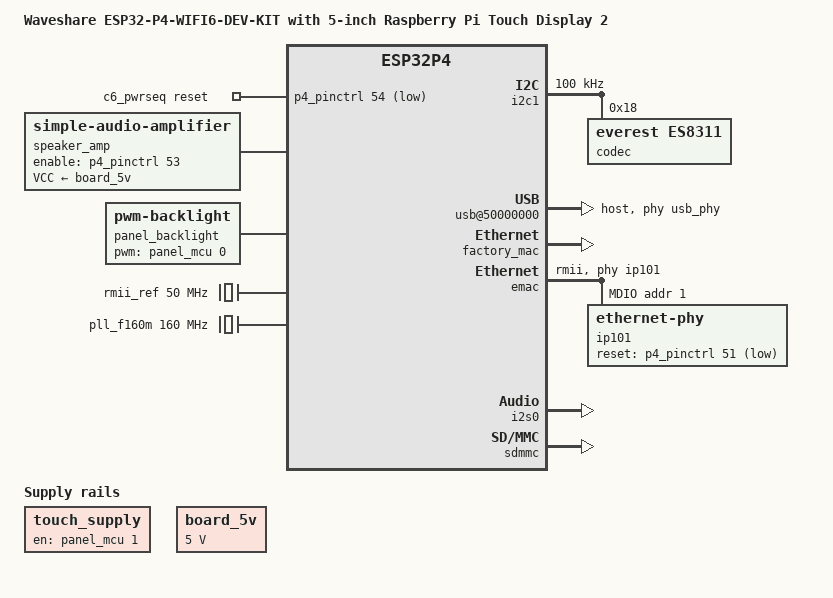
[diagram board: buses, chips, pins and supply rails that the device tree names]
// SPDX-License-Identifier: (GPL-2.0-only OR BSD-2-Clause)
#include <dt-bindings/gpio/gpio.h>
#include "esp32p4-hardware.dts"
#include "esp32p4-waveshare-peripheral-pins.dtsi"

/ {
	model = "Waveshare ESP32-P4-WIFI6-DEV-KIT with 5-inch Raspberry Pi Touch Display 2";
	compatible = "waveshare,esp32p4-wifi6-dev-kit-touch-display-2",
		     "waveshare,esp32p4-wifi6-dev-kit",
		     "espressif,esp32p4-generic", "espressif,esp32p4";

	aliases {
		i2c1 = &i2c1;
		mmc0 = &sd_slot;
		mmc1 = &c6_slot;
		ethernet0 = &emac;
		watchdog0 = &mwdt0;
		watchdog1 = &mwdt1;
	};

	/* The panel MCU exposes LCD reset on GPIO0 and CTP reset on GPIO1. */
	touch_supply: regulator-touch {
		compatible = "regulator-fixed";
		regulator-name = "touch-display-2";
		gpio = <&panel_mcu 1 GPIO_ACTIVE_HIGH>;
		enable-active-high;
		startup-delay-us = <50000>;
	};

	c6_pwrseq: mmc-pwrseq {
		compatible = "mmc-pwrseq-simple";
		reset-gpios = <&p4_pinctrl 54 GPIO_ACTIVE_LOW>;
		/* ESP-Hosted firmware starts after the SDIO bus is pulled up. */
		post-power-on-delay-ms = <200>;
		power-off-delay-us = <10000>;
	};

	board_5v: regulator-board-5v {
		compatible = "regulator-fixed";
		regulator-name = "VCC_5V";
		regulator-min-microvolt = <5000000>;
		regulator-max-microvolt = <5000000>;
		regulator-always-on;
	};

	speaker_amp: audio-amplifier {
		compatible = "simple-audio-amplifier";
		enable-gpios = <&p4_pinctrl 53 GPIO_ACTIVE_HIGH>;
		VCC-supply = <&board_5v>;
		sound-name-prefix = "PA";
	};

	sound {
		compatible = "simple-audio-card";
		simple-audio-card,name = "Waveshare ES8311";
		simple-audio-card,format = "i2s";
		simple-audio-card,bitclock-master = <&codec_dai>;
		simple-audio-card,frame-master = <&codec_dai>;
		simple-audio-card,mclk-fs = <256>;
		simple-audio-card,aux-devs = <&speaker_amp>;
		simple-audio-card,widgets = "Speaker", "Speaker", "Microphone", "Mic";
		simple-audio-card,routing = "Speaker", "PA OUTL", "PA INL", "OUT",
					   "MIC1", "Mic";

		simple-audio-card,cpu {
			sound-dai = <&i2s0>;
			system-clock-direction-out;
		};

		codec_dai: simple-audio-card,codec {
			sound-dai = <&codec>;
		};
	};

	panel_backlight: backlight {
		compatible = "pwm-backlight";
		pwms = <&panel_mcu 0 200000 0>;
		brightness-levels = <0 31>;
		num-interpolated-steps = <31>;
		default-brightness-level = <16>;
	};
};

/* TRM ch.48 I2C Controller - I2C1 APB gate, XTAL source and master mode.
 * The panel MCU and touchscreen are on GPIO7 (SDA) and GPIO8 (SCL).
 */
&i2c1 {
	compatible = "espressif,esp32p4-rev1-i2c";
	reg = <0x500c5000 0x100>;
	clocks = <&periphclk ESP32P4_CLK_I2C1>;
	resets = <&periphclk ESP32P4_RST_I2C1>;
	pinctrl-0 = <&pins_i2c1>;
	pinctrl-names = "default";
	clock-frequency = <100000>;

	codec: codec@18 {
		compatible = "everest,es8311";
		reg = <0x18>;
		clocks = <&periphclk ESP32P4_CLK_I2S0>;
		clock-names = "mclk";
		#sound-dai-cells = <0>;
	};
};

&{/chosen/framebuffer@49000000} {
	reset-gpios = <&panel_mcu 0 GPIO_ACTIVE_LOW>;
	backlight = <&panel_backlight>;
};

panel_mcu: &{/soc/i2c@500c5000/backlight@45} {
	compatible = "raspberrypi,touchscreen-panel-regulator-v2";
	gpio-controller;
	#gpio-cells = <2>;
	#pwm-cells = <3>;
};

&{/soc/i2c@500c5000/touchscreen@5d} {
	AVDD28-supply = <&touch_supply>;
};

/*
 * After the handoff SPL and U-Boot's temporary BSS are dead. U-Boot
 * retains the cache routines and display LLI below 0x4ff2b000 and the AP
 * mailbox at 0x4ff3c000. TRM ch.9 System and Memory - SRAM CPU/DMA aliases.
 */
&{/reserved-memory} {
	p4_dma: dma-pool@8ff2b000 {
		compatible = "shared-dma-pool";
		reg = <0x8ff2b000 0x11000>;
		no-map;
		linux,dma-default;
	};
};

&{/soc} {
	dma-noncoherent;
	dma-ranges = <0x48000000 0x48000000 0x04000000>,
		     <0x4ff2b000 0x8ff2b000 0x11000>;
};

/ {
	rmii_ref: clock-50m {
		compatible = "fixed-clock";
		#clock-cells = <0>;
		clock-frequency = <50000000>;
	};

	pll_f160m: clock-160m {
		compatible = "fixed-clock";
		#clock-cells = <0>;
		clock-frequency = <160000000>;
	};
};

&p4_pinctrl {
	gpio-controller;
	#gpio-cells = <2>;
	gpio-ranges = <&p4_pinctrl 0 0 57>;
	gpio-reserved-ranges = <0 51>, <52 1>, <55 2>;
};

/* This board configuration has no OV5647 sensor fitted. */
&{/soc/i2c@500c5000/camera@36} {
	status = "disabled";
};

&periphclk {
	reg = <0x500e6000 0x100>, <0x5011104c 0x4>,
	      <0x50111040 0x4>, <0x500e514c 0x4>;
	clocks = <&xtal>, <&pll_f160m>, <&rmii_ref>;
};

&{/soc} {
	/* TRM ch.16 Low-Power Management - VO4 bypass supplies SD1_VDD. */
	sd_vdd: regulator@501151d8 {
		compatible = "espressif,esp32p4-vo4-bypass";
		reg = <0x501151d8 0x4>;
		regulator-name = "SD1_VDD";
		regulator-min-microvolt = <3300000>;
		regulator-max-microvolt = <3300000>;
	};

	/* TRM ch.54 USB 2.0 High-Speed OTG - UTMI PHY and host controller. */
	usb_phy: phy@5009c000 {
		compatible = "espressif,esp32p4-rev1-usb-phy";
		reg = <0x5009c000 0x20>, <0x50111048 0x4>, <0x500e515c 0x4>;
		reg-names = "utmi", "otg-ctrl", "phy-ctrl";
		clocks = <&periphclk ESP32P4_CLK_USBHS>;
		#phy-cells = <0>;
	};

	usb@50000000 {
		compatible = "espressif,esp32p4-dwc2";
		reg = <0x50000000 0x1000>;
		interrupt-parent = <&{/soc/interrupt-controller@20800000}>;
		interrupts = <93 4>;
		phys = <&usb_phy>;
		phy-names = "usb2-phy";
		dr_mode = "host";
	};

	/* TRM ch.10 eFuse Controller - RD_MAC_SYS0 through RD_MAC_SYS1. */
	efuse@5012d044 {
		compatible = "espressif,esp32p4-efuse";
		reg = <0x5012d044 0x8>;
		read-only;

		nvmem-layout {
			compatible = "fixed-layout";
			#address-cells = <1>;
			#size-cells = <1>;

			factory_mac: mac-address@0 {
				compatible = "mac-base";
				#nvmem-cell-cells = <1>;
				reg = <0 6>;
			};
		};
	};

	/* TRM ch.57 EMAC - 10/100 RMII PHY with external 50 MHz clock. */
	emac: ethernet@50098000 {
		compatible = "espressif,esp32p4-dwmac";
		reg = <0x50098000 0x2000>;
		interrupt-parent = <&{/soc/interrupt-controller@20800000}>;
		interrupts = <92 4>, <91 4>, <90 4>;
		interrupt-names = "macirq", "eth_wake_irq", "eth_lpi";
		clocks = <&periphclk ESP32P4_CLK_EMAC>,
			 <&periphclk ESP32P4_CLK_EMAC_RMII>,
			 <&periphclk ESP32P4_CLK_EMAC_PTP>;
		clock-names = "stmmaceth", "rmii", "ptp_ref";
		pinctrl-0 = <&pins_emac_rmii &pins_emac_mdio>;
		pinctrl-names = "default";
		phy-mode = "rmii";
		phy-handle = <&ip101>;
		/* P4 has no native Wi-Fi or Bluetooth MAC address allocation. */
		nvmem-cells = <&factory_mac 0>;
		nvmem-cell-names = "mac-address";
		max-speed = <100>;
		snps,clk-csr = <4>;
		/* TRM ch.57 EMAC - the AHB master aligns subsequent bursts. */
		snps,aal;
		snps,pbl = <32>;
		snps,no-pbl-x8;

		mdio {
			compatible = "snps,dwmac-mdio";
			#address-cells = <1>;
			#size-cells = <0>;

			ip101: ethernet-phy@1 {
				reg = <1>;
				reset-gpios = <&p4_pinctrl 51 GPIO_ACTIVE_LOW>;
				reset-assert-us = <10000>;
				reset-deassert-us = <30000>;
			};
		};
	};

	/* TRM ch.6 GDMA Controller - three coupled AHB RX/TX channel pairs. */
	ahb_dma: dma-controller@50085000 {
		compatible = "espressif,esp32p4-ahb-gdma";
		reg = <0x50085000 0x1000>;
		interrupt-parent = <&{/soc/interrupt-controller@20800000}>;
		interrupts = <56 4>, <57 4>, <58 4>, <59 4>, <60 4>, <61 4>;
		clocks = <&periphclk ESP32P4_CLK_AHB_GDMA>;
		resets = <&periphclk ESP32P4_RST_AHB_GDMA>;
		#dma-cells = <2>;
	};

	/* TRM ch.18 Timer Group - TIMG_WDTCONFIG0 through TIMG_WDTWPROTECT. */
	mwdt0: watchdog@500c2048 {
		compatible = "espressif,esp32p4-timg-wdt";
		reg = <0x500c2048 0x20>;
		clocks = <&periphclk ESP32P4_CLK_MWDT0>;
		timeout-sec = <30>;
	};

	mwdt1: watchdog@500c3048 {
		compatible = "espressif,esp32p4-timg-wdt";
		reg = <0x500c3048 0x20>;
		clocks = <&periphclk ESP32P4_CLK_MWDT1>;
		timeout-sec = <30>;
	};

	/* TRM ch.53 PCNT - four units, GPIO2 feeds unit 0 channel 0. */
	pcnt: counter@500c9000 {
		compatible = "espressif,esp32p4-pcnt";
		reg = <0x500c9000 0x100>;
		interrupt-parent = <&{/soc/interrupt-controller@20800000}>;
		interrupts = <111 4>;
		clocks = <&periphclk ESP32P4_CLK_PCNT>;
		resets = <&periphclk ESP32P4_RST_PCNT>;
		pinctrl-0 = <&pins_pcnt0>;
		pinctrl-names = "default";
	};

	/* TRM ch.51 I2S Controller and ch.6 GDMA - I2S0 request 3. */
	i2s0: i2s@500c6000 {
		compatible = "espressif,esp32p4-i2s";
		reg = <0x500c6000 0x1000>;
		clocks = <&periphclk ESP32P4_CLK_I2S0>;
		resets = <&periphclk ESP32P4_RST_I2S0>;
		dmas = <&ahb_dma 1 3>, <&ahb_dma 0 3>;
		dma-names = "tx", "rx";
		pinctrl-0 = <&pins_i2s0>;
		pinctrl-names = "default";
		#sound-dai-cells = <0>;
		espressif,external-card;
	};

	/* TRM ch.59 SD/MMC Host Controller - dedicated IOMUX slot 0. */
	sdmmc: mmc@50083000 {
		compatible = "espressif,esp32p4-dw-mshc";
		reg = <0x50083000 0x1000>;
		interrupt-parent = <&{/soc/interrupt-controller@20800000}>;
		interrupts = <23 4>;
		clocks = <&periphclk ESP32P4_CLK_SDMMC>,
			 <&periphclk ESP32P4_CLK_SDMMC>;
		clock-names = "biu", "ciu";
		pinctrl-0 = <&pins_sdmmc0 &pins_sdmmc1>;
		pinctrl-names = "default";
		espressif,num-slots = <2>;
		#address-cells = <1>;
		#size-cells = <0>;

		sd_slot: slot@0 {
			reg = <0>;
			vmmc-supply = <&sd_vdd>;
			bus-width = <4>;
			max-frequency = <20000000>;
			no-1-8-v;
			disable-wp;
			broken-cd;
			no-mmc;
			no-sdio;
		};

		c6_slot: slot@1 {
			reg = <1>;
			mmc-pwrseq = <&c6_pwrseq>;
			bus-width = <4>;
			max-frequency = <20000000>;
			no-1-8-v;
			non-removable;
			cap-sdio-irq;
			no-mmc;
			no-sd;
		};
	};
};
